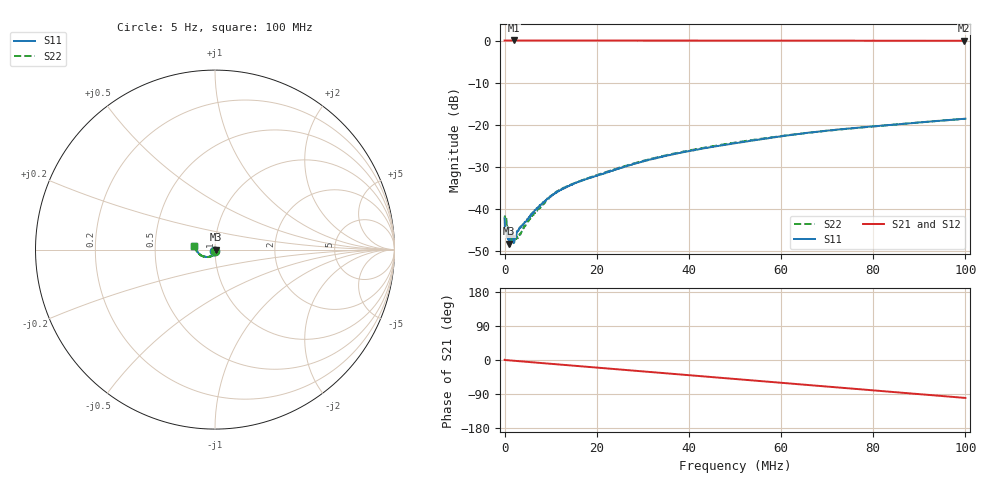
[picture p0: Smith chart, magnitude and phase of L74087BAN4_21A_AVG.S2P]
!Agilent Technologies,E5061B,MY49102235,A.02.00
!Date: Tue Jul 11 16:23:36 2023
!Data & Calibration Information:
!Freq	S11:SOLT2(ON)	S21:SOLT2(ON)	S12:SOLT2(ON)	S22:SOLT2(ON)
# Hz S RI R 50
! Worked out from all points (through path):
!   1600 points, 5 Hz to 100 MHz, reference 50 ohm
!   highest |S21| = 0.02 dB at 2.001 MHz (marker M1); lowest = -0.1 dB at 99.75 MHz (marker M2)
!   group delay of S21, straight-line fit = 2.78 ns
!   lowest |S11| = -48.3 dB at 1.001 MHz (marker M3), VSWR 1.01, Z = 50.4 - j0.0818 ohm
!   |S11| at or under -10 dB: start of sweep to end of sweep
!   |S22| runs from -48.8 to -18.6 dB; largest |S21 - S12| = 0.0026
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5  -0.00526 -0.00565  1.002 0.00801  1 0.0103  -0.0015 -0.00754
437778.6  0.00514 -0.000622  1.001 -0.00526  1.001 -0.00603  0.00663 -0.00226
625395.8  0.00508 -0.00066  1.002 -0.0104  1.002 -0.00995  0.00611 -0.00104
1000630  0.00378 -0.000811  1.001 -0.0163  1.001 -0.016  0.00516 -0.00173
1563482  0.00436 -0.00294  1.001 -0.0262  1.001 -0.0254  0.00317 -0.00353
2001256  0.00304 -0.00289  1.002 -0.0348  1.001 -0.0347  0.00317 -0.00261
2376490  0.00331 -0.00307  0.9997 -0.0411  1 -0.0414  0.00395 -0.00273
3252037  0.00425 -0.00429  0.9994 -0.0566  0.9993 -0.0565  0.00314 -0.00379
4690436  0.00372 -0.00612  0.9976 -0.0816  0.9975 -0.0817  0.00341 -0.00578
6003757  0.00333 -0.00807  0.9954 -0.1044  0.9956 -0.1044  0.00283 -0.00787
9505946  0.00146 -0.0134  0.9872 -0.1655  0.9874 -0.1652  0.000771 -0.0133
1.163227e7  -8.7e-05 -0.0163  0.9804 -0.2019  0.9803 -0.2016  -0.00109 -0.0163
1.669794e7  -0.00397 -0.0213  0.9581 -0.2877  0.9581 -0.2875  -0.00444 -0.0214
2.582865e7  -0.0114 -0.0293  0.9004 -0.4364  0.9002 -0.4363  -0.0094 -0.0306
3.333334e7  -0.0204 -0.0354  0.835 -0.5502  0.8349 -0.55  -0.0192 -0.0366
5.003127e7  -0.0444 -0.0409  0.6408 -0.7667  0.6407 -0.7665  -0.0448 -0.042
6.672921e7  -0.0741 -0.0343  0.3923 -0.917  0.3926 -0.9172  -0.0734 -0.0348
7.53596e7  -0.0876 -0.0247  0.25 -0.9646  0.2501 -0.9646  -0.0871 -0.0257
8.33646e7  -0.0985 -0.0121  0.1132 -0.9894  0.1131 -0.9896  -0.0981 -0.0141
9.155722e7  -0.1084 0.00311  -0.0292 -0.9943  -0.0292 -0.9944  -0.1085 -5.89e-05
9.974984e7  -0.1161 0.0202  -0.1705 -0.9787  -0.1703 -0.9791  -0.116 0.0173
1e8  -0.1163 0.0207  -0.1747 -0.9782  -0.1746 -0.9784  -0.1164 0.018
